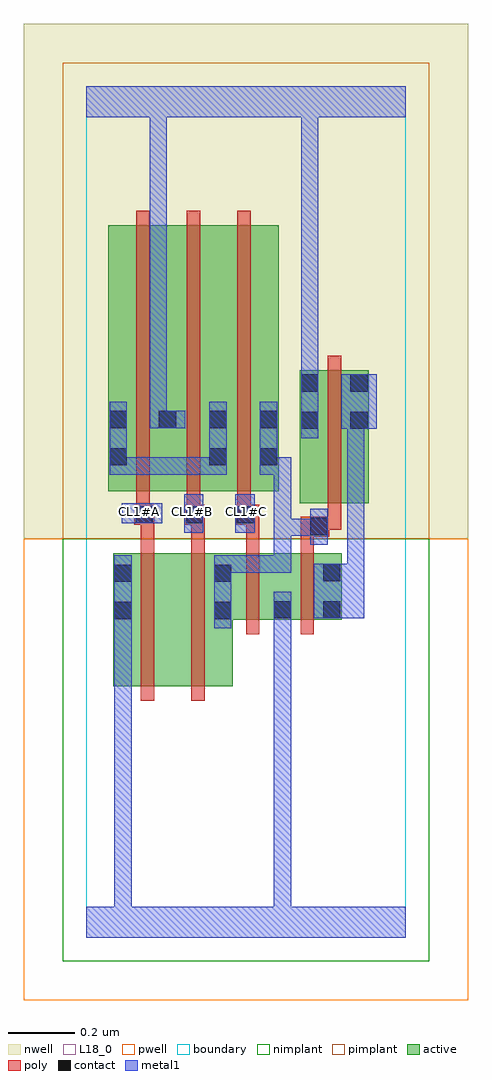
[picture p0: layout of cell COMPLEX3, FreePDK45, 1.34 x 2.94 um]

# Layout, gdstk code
import gdstk
lib = gdstk.Library(unit=1e-6, precision=1e-09)
def R(c, l, rs):  # rectangles x0, y0, x1, y1
    for r in rs: c.add(gdstk.rectangle(r[:2], r[2:], *l))
def A(c, l, x, y, w, h, nx, ny, dx, dy):  # array of equal rectangles
    R(c, l, [(x+i*dx, y+j*dy, x+i*dx+w, y+j*dy+h) for i in range(nx) for j in range(ny)])
active = (1, 0)
pwell = (2, 0)
nwell = (3, 0)
nimplant = (4, 0)
pimplant = (5, 0)
poly = (9, 0)
contact = (10, 0)
metal1 = (11, 0)
L18_0 = (18, 0)
boundary = (235, 0)

complex3 = lib.new_cell('COMPLEX3')
R(complex3, active, [(0.08,0.756,0.26,1.156), (0.08,0.756,0.14,1.156), (0.26,0.756,0.44,1.156), (0.38,0.756,0.44,1.126), (0.38,0.956,0.62,1.156), (0.56,0.956,0.62,1.156), (0.56,0.956,0.768,1.156), (0.708,0.956,0.768,1.156), (0.642,1.306,0.702,1.706), (0.642,1.306,0.85,1.706), (0.79,1.306,0.85,1.698), (0.066,1.342,0.126,2.044), (0.066,1.342,0.274,2.142), (0.214,1.342,0.426,2.142), (0.366,1.342,0.578,2.142), (0.518,1.342,0.578,2.044), (0.366,1.416,0.426,2.044), (0.214,1.528,0.274,2.142)])
R(complex3, pwell, [(-0.188,-0.188,1.148,1.2)])
R(complex3, nwell, [(-0.188,1.2,1.148,2.748)])
R(complex3, nimplant, [(-0.072,-0.072,1.032,1.2)])
R(complex3, pimplant, [(-0.072,1.2,1.032,2.632)])
A(complex3, poly, 0.15, 1.262, 0.04, 0.076, 3, 1, 0.152, 0)
A(complex3, poly, 0.15, 1.298, 0.04, 0.888, 3, 1, 0.152, 0)
R(complex3, poly, [(0.164,0.712,0.204,1.2), (0.316,0.712,0.356,1.2), (0.48,0.912,0.52,1.2), (0.644,0.912,0.684,1.2), (0.164,1.16,0.204,1.282), (0.316,1.16,0.356,1.282), (0.48,1.16,0.52,1.282), (0.644,1.16,0.684,1.246), (0.644,1.206,0.73,1.266), (0.69,1.226,0.73,1.266), (0.69,1.226,0.766,1.266), (0.726,1.226,0.766,1.302), (0.144,1.242,0.204,1.302), (0.296,1.242,0.356,1.302), (0.45,1.242,0.52,1.302), (0.15,1.262,0.19,1.302), (0.15,1.262,0.19,1.302), (0.302,1.262,0.342,1.302), (0.302,1.262,0.342,1.302), (0.454,1.262,0.494,1.302), (0.454,1.262,0.494,1.302), (0.726,1.262,0.766,1.75)])
A(complex3, contact, 0.218, 1.532, 0.052, 0.052, 3, 1, 0.152, 0)
R(complex3, contact, [(0.084,0.958,0.136,1.01), (0.384,0.958,0.436,1.01), (0.564,0.96,0.616,1.012), (0.712,0.96,0.764,1.012), (0.084,1.07,0.136,1.122), (0.384,1.07,0.436,1.122), (0.712,1.072,0.764,1.124), (0.674,1.21,0.726,1.262), (0.148,1.246,0.2,1.298), (0.3,1.246,0.352,1.298), (0.454,1.246,0.506,1.298), (0.07,1.42,0.122,1.472), (0.37,1.42,0.422,1.472), (0.522,1.42,0.574,1.472), (0.646,1.53,0.698,1.582), (0.794,1.53,0.846,1.582), (0.07,1.532,0.122,1.584), (0.646,1.642,0.698,1.694), (0.794,1.642,0.846,1.694)])
R(complex3, metal1, [(0,0,0.96,0.092), (0.084,0.04,0.136,0.982), (0.564,0.04,0.616,0.092), (0.564,0.04,0.616,0.092), (0.564,0.04,0.616,0.092), (0.564,0.04,0.616,0.092), (0.564,0.04,0.616,0.092), (0.564,0.04,0.616,0.092), (0.564,0.04,0.616,0.092), (0.564,0.04,0.616,0.092), (0.564,0.04,0.616,0.692), (0.564,0.64,0.616,0.692), (0.564,0.64,0.616,0.984), (0.084,0.93,0.136,0.982), (0.084,0.93,0.136,0.982), (0.084,0.93,0.136,0.982), (0.084,0.93,0.136,0.982), (0.084,0.93,0.136,0.982), (0.084,0.93,0.136,0.982), (0.084,0.93,0.136,0.982), (0.084,0.93,0.136,0.982), (0.084,0.93,0.136,0.982), (0.084,0.93,0.136,0.982), (0.084,0.93,0.136,0.982), (0.084,0.93,0.136,0.982), (0.084,0.93,0.136,1.15), (0.384,0.93,0.436,1.15), (0.564,0.932,0.616,0.984), (0.564,0.932,0.616,0.984), (0.564,0.932,0.616,0.984), (0.564,0.932,0.616,0.984), (0.564,0.932,0.616,0.984), (0.564,0.932,0.616,0.984), (0.564,0.932,0.616,1.04), (0.684,0.96,0.836,1.124), (0.784,1.072,0.836,1.124), (0.784,1.072,0.836,1.124), (0.784,1.072,0.836,1.582), (0.384,1.098,0.436,1.15), (0.384,1.098,0.436,1.15), (0.384,1.098,0.616,1.15), (0.564,1.098,0.616,1.15), (0.564,1.098,0.616,1.26), (0.674,1.182,0.726,1.29), (0.564,1.208,0.616,1.26), (0.564,1.208,0.616,1.26), (0.564,1.208,0.616,1.26), (0.564,1.208,0.726,1.26), (0.564,1.208,0.616,1.444), (0.294,1.218,0.352,1.334), (0.448,1.218,0.506,1.334), (0.106,1.246,0.228,1.306), (0.07,1.392,0.122,1.444), (0.07,1.392,0.122,1.444), (0.07,1.392,0.122,1.612), (0.07,1.392,0.312,1.444), (0.26,1.392,0.312,1.444), (0.26,1.392,0.312,1.444), (0.26,1.392,0.312,1.444), (0.26,1.392,0.422,1.444), (0.37,1.392,0.422,1.612), (0.522,1.392,0.574,1.444), (0.522,1.392,0.574,1.612), (0.522,1.392,0.616,1.444), (0.646,1.502,0.698,1.722), (0.766,1.53,0.874,1.694), (0.784,1.53,0.836,1.582), (0.784,1.53,0.836,1.582), (0.19,1.532,0.242,2.52), (0.19,1.532,0.298,1.584), (0.646,1.67,0.698,1.722), (0.646,1.67,0.698,1.722), (0.646,1.67,0.698,1.722), (0.646,1.67,0.698,1.722), (0.646,1.67,0.698,1.722), (0.646,1.67,0.698,1.722), (0.646,1.67,0.698,1.722), (0.646,1.67,0.698,1.722), (0.646,1.67,0.698,1.722), (0.646,1.67,0.698,1.722), (0.646,1.67,0.698,1.722), (0.646,1.67,0.698,1.722), (0.646,1.67,0.698,2.52), (0,2.468,0.96,2.56), (0.19,2.468,0.242,2.52), (0.19,2.468,0.242,2.52), (0.19,2.468,0.242,2.52), (0.19,2.468,0.242,2.52), (0.19,2.468,0.242,2.52), (0.19,2.468,0.242,2.52), (0.19,2.468,0.242,2.52), (0.19,2.468,0.242,2.52), (0.646,2.468,0.698,2.52), (0.646,2.468,0.698,2.52), (0.646,2.468,0.698,2.52), (0.646,2.468,0.698,2.52)])
A(complex3, L18_0, 0.134, 1.254, 0.052, 0.052, 3, 1, 0.16, 0)
R(complex3, L18_0, [(0,0,0.96,0.092), (0.084,0.04,0.136,0.982), (0.564,0.04,0.616,0.092), (0.564,0.04,0.616,0.092), (0.564,0.04,0.616,0.092), (0.564,0.04,0.616,0.092), (0.564,0.04,0.616,0.092), (0.564,0.04,0.616,0.092), (0.564,0.04,0.616,0.092), (0.564,0.04,0.616,0.092), (0.564,0.04,0.616,0.692), (0.564,0.64,0.616,0.692), (0.564,0.64,0.616,0.984), (0.084,0.93,0.136,0.982), (0.084,0.93,0.136,0.982), (0.084,0.93,0.136,0.982), (0.084,0.93,0.136,0.982), (0.084,0.93,0.136,0.982), (0.084,0.93,0.136,0.982), (0.084,0.93,0.136,0.982), (0.084,0.93,0.136,0.982), (0.084,0.93,0.136,0.982), (0.084,0.93,0.136,0.982), (0.084,0.93,0.136,0.982), (0.084,0.93,0.136,0.982), (0.084,0.93,0.136,1.15), (0.564,0.932,0.616,0.984), (0.564,0.932,0.616,0.984), (0.564,0.932,0.616,0.984), (0.564,0.932,0.616,0.984), (0.564,0.932,0.616,0.984), (0.564,0.932,0.616,0.984), (0.564,0.932,0.616,1.04), (0.294,1.218,0.352,1.334), (0.448,1.218,0.506,1.334), (0.106,1.246,0.228,1.306), (0.646,1.502,0.698,1.722), (0.19,1.532,0.298,1.584), (0.19,1.532,0.242,2.52), (0.646,1.67,0.698,1.722), (0.646,1.67,0.698,1.722), (0.646,1.67,0.698,1.722), (0.646,1.67,0.698,1.722), (0.646,1.67,0.698,1.722), (0.646,1.67,0.698,1.722), (0.646,1.67,0.698,1.722), (0.646,1.67,0.698,1.722), (0.646,1.67,0.698,1.722), (0.646,1.67,0.698,1.722), (0.646,1.67,0.698,1.722), (0.646,1.67,0.698,1.722), (0.646,1.67,0.698,2.52), (0,2.468,0.96,2.56), (0.19,2.468,0.242,2.52), (0.19,2.468,0.242,2.52), (0.19,2.468,0.242,2.52), (0.19,2.468,0.242,2.52), (0.19,2.468,0.242,2.52), (0.19,2.468,0.242,2.52), (0.19,2.468,0.242,2.52), (0.19,2.468,0.242,2.52), (0.646,2.468,0.698,2.52), (0.646,2.468,0.698,2.52), (0.646,2.468,0.698,2.52), (0.646,2.468,0.698,2.52)])
R(complex3, boundary, [(0,0,0.96,2.56)])
complex3.add(gdstk.Label('CL1#A', (0.16,1.28), layer=11, texttype=0))
complex3.add(gdstk.Label('CL1#B', (0.32,1.28), layer=11, texttype=0))
complex3.add(gdstk.Label('CL1#C', (0.48,1.28), layer=11, texttype=0))

lib.write_gds('COMPLEX3.gds')
